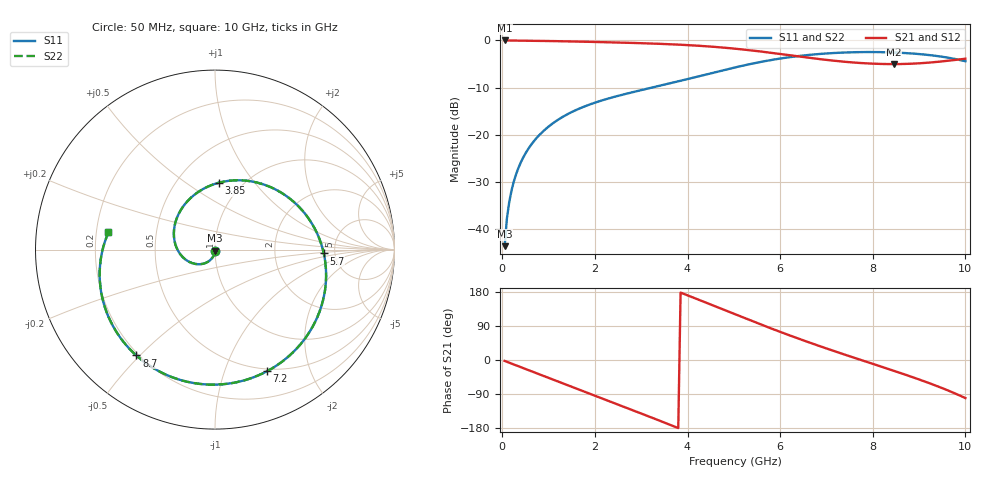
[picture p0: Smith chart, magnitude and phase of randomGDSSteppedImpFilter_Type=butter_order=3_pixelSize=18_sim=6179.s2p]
! freq	dB(S11)	phase(S11)	dB(S12)	phase(S12)
!  dB(S21)	phase(S21)	dB(S22)	phase(S22)
!S-par simulation data
#  GHz  S  DB  R 50
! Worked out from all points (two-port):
!   200 points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, 50 MHz to 10 GHz, reference 50 ohm
!   highest |S21| = 0.00 dB at 50 MHz (marker M1); lowest = -5.0 dB at 8.45 GHz (marker M2)
!   |S21| within 3 dB of the highest: start of sweep to 6.099 GHz
!   lowest |S11| = -43.7 dB at 50 MHz (marker M3), VSWR 1.01, Z = 50 - j0.653 ohm
!   |S11| at or under -10 dB: start of sweep to 3.239 GHz
!   |S22| runs from -43.7 to -2.5 dB; largest |S21 - S12| = 0
!   S11 on the Smith chart (normalised r, x): 50 MHz: 1.00, -0.01; 3.85 GHz: 0.78, +0.68; 5.7 GHz: 4.06, -0.28; 7.2 GHz: 0.47, -1.40; 8.7 GHz: 0.19, -0.49; 10 GHz: 0.25, +0.08
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0.05  -43.69 -90.8  -0.00 -2.4  -0.00 -2.4  -43.69 -90.8
0.1  -37.78 -93.8  -0.01 -4.8  -0.01 -4.8  -37.78 -93.8
0.2  -31.83 -99.2  -0.02 -9.5  -0.02 -9.5  -31.83 -99.2
0.5  -24.00 -114.1  -0.05 -23.6  -0.05 -23.6  -24.00 -114.1
1.15  -17.19 -145.0  -0.15 -54.2  -0.15 -54.2  -17.19 -145.0
1.75  -14.12 -173.3  -0.27 -82.3  -0.27 -82.3  -14.12 -173.3
2.5  -11.77 151.4  -0.44 -117.5  -0.44 -117.5  -11.77 151.4
2.95  -10.67 130.1  -0.57 -138.8  -0.57 -138.8  -10.67 130.0
3.4  -9.63 108.5  -0.72 -160.3  -0.72 -160.3  -9.63 108.5
3.85  -8.57 86.8  -0.91 178.0  -0.91 178.0  -8.57 86.8
4.4  -7.23 60.1  -1.23 151.1  -1.23 151.1  -7.22 60.1
5.05  -5.68 28.7  -1.77 119.4  -1.77 119.4  -5.67 28.7
5.7  -4.34 -2.0  -2.50 88.2  -2.50 88.2  -4.34 -2.0
6.2  -3.56 -24.7  -3.14 65.2  -3.14 65.2  -3.56 -24.7
6.7  -3.00 -46.4  -3.78 43.2  -3.78 43.2  -3.00 -46.3
7.2  -2.65 -67.0  -4.35 22.2  -4.35 22.2  -2.65 -67.0
7.75  -2.48 -88.9  -4.80 -0.2  -4.80 -0.2  -2.47 -88.8
8.35  -2.52 -112.5  -5.02 -24.2  -5.02 -24.2  -2.52 -112.4
8.45  -2.56 -116.5  -5.02 -28.3  -5.02 -28.3  -2.56 -116.4
8.7  -2.68 -126.6  -4.99 -38.6  -4.99 -38.6  -2.68 -126.5
9.4  -3.32 -157.3  -4.55 -69.4  -4.55 -69.4  -3.32 -157.2
10  -4.42 170.8  -3.88 -100.5  -3.88 -100.5  -4.42 170.9
